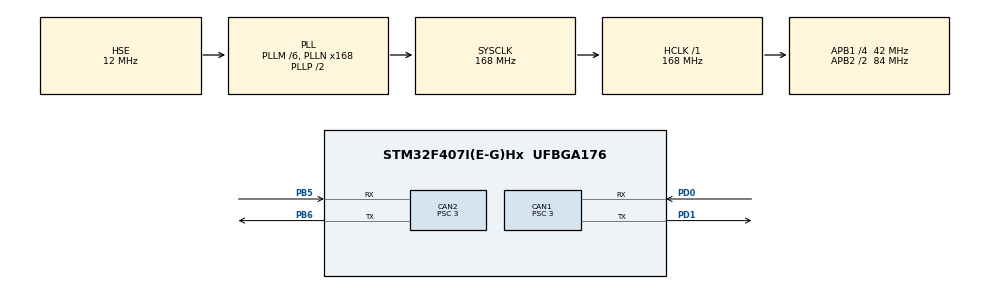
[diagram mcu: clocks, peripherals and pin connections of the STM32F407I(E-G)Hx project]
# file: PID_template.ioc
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CAN1.BS1=CAN_BS1_10TQ
CAN1.BS2=CAN_BS2_3TQ
CAN1.CalculateBaudRate=1000000
CAN1.CalculateTimeBit=1000
CAN1.CalculateTimeQuantum=71.42857142857143
CAN1.Prescaler=3
CAN2.BS1=CAN_BS1_10TQ
CAN2.BS2=CAN_BS2_3TQ
CAN2.CalculateBaudRate=1000000
CAN2.CalculateTimeBit=1000
CAN2.CalculateTimeQuantum=71.42857142857143
CAN2.Prescaler=3
Mcu.Family=STM32F4
Mcu.Name=STM32F407I(E-G)Hx
Mcu.Package=UFBGA176
NVIC.CAN1_RX0_IRQn=true\:0\:0\:false\:false\:true\:false\:true\:true\:true
NVIC.CAN2_RX0_IRQn=true\:0\:0\:false\:false\:true\:false\:true\:true\:true
NVIC.PriorityGroup=NVIC_PRIORITYGROUP_4
PA13.Mode=Serial_Wire
PA13.Signal=SYS_JTMS-SWDIO
PA14.Mode=Serial_Wire
PA14.Signal=SYS_JTCK-SWCLK
PB5.Mode=CAN_Activate
PB5.Signal=CAN2_RX
PB6.Mode=CAN_Activate
PB6.Signal=CAN2_TX
PD0.Mode=CAN_Activate
PD0.Signal=CAN1_RX
PD1.Mode=CAN_Activate
PD1.Signal=CAN1_TX
PH0-OSC_IN.Mode=HSE-External-Oscillator
PH0-OSC_IN.Signal=RCC_OSC_IN
PH1-OSC_OUT.Mode=HSE-External-Oscillator
PH1-OSC_OUT.Signal=RCC_OSC_OUT
ProjectManager.HeapSize=0x200
ProjectManager.StackSize=0x400
ProjectManager.TargetToolchain=CMake
RCC.48MHZClocksFreq_Value=48000000
RCC.AHBFreq_Value=168000000
RCC.APB1CLKDivider=RCC_HCLK_DIV4
RCC.APB1Freq_Value=42000000
RCC.APB1TimFreq_Value=84000000
RCC.APB2CLKDivider=RCC_HCLK_DIV2
RCC.APB2Freq_Value=84000000
RCC.APB2TimFreq_Value=168000000
RCC.CortexFreq_Value=168000000
RCC.HCLKFreq_Value=168000000
RCC.HSE_VALUE=12000000
RCC.HSI_VALUE=16000000
RCC.LSE_VALUE=32768
RCC.PLLM=6
RCC.PLLN=168
RCC.PLLQ=7
RCC.PLLSourceVirtual=RCC_PLLSOURCE_HSE
RCC.SYSCLKFreq_VALUE=168000000
RCC.SYSCLKSource=RCC_SYSCLKSOURCE_PLLCLK
RCC.VCOOutputFreq_Value=336000000
board=custom

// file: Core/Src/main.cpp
/* USER CODE BEGIN Header */
/**
  ******************************************************************************
  * @file           : main.c
  * @brief          : Main program body
  ******************************************************************************
  * @attention
  *
  * Copyright (c) 2026 STMicroelectronics.
  * All rights reserved.
  *
  * This software is licensed under terms that can be found in the LICENSE file
  * in the root directory of this software component.
  * If no LICENSE file comes with this software, it is provided AS-IS.
  *
  ******************************************************************************
  */
/* USER CODE END Header */
#include "main.h"
#include "can.h"
#include "gpio.h"

/* USER CODE BEGIN Includes */
#include "DJIMotorHandler.hpp"
#include "bsp_can.hpp"
#include "M3508.hpp"
#include "M2006.hpp"
#include "GM6020.hpp"
#include "pid.hpp"
#include "ref.hpp"
/* USER CODE END Includes */

void SystemClock_Config(void);

/* USER CODE BEGIN 0 */
//创建电机handler单例对象
DJIMotorHandler* motor_handler = DJIMotorHandler::Instance();
//TODO? 创建电机实例：选择你使用的电机
M2006 motor;  // 编号 1 的反馈 ID 为 0x201
// M3508 motor;      // 编号 1 的反馈 ID 为 0x201
// GM6020 motor; // 编号 1 的反馈 ID 为 0x205

//TODO? 创建参考曲线对象，选择你想要的曲线类型
RefCurve curve{RefShape::Triangle, -3.0f, 3.0f, 0, 3000};
// 上面依次为：曲线类型(Constant/Step/Triangle)、低值、高值、阶跃延时 ms、三角波周期 ms。

// PID 参数与控制器实例分离，便于调试时整体调整每组参数。
PIDTuning speed_pid_tuning{600.0f, 40.0f, 60.0f, 6000.0f, 600.0f};

struct debug_data_t {
    float ref;
    float fdb;
    float result;
};

debug_data_t debug_spd_data{};
debug_data_t debug_pos_data{};

// 记录程序开始时间，计算参考曲线的相对时间
uint32_t start_ms = 0;

/* USER CODE END 0 */

int main(void)
{

  /* MCU Configuration--------------------------------------------------------*/

  /* Reset of all peripherals, Initializes the Flash interface and the Systick. */
  HAL_Init();

  /* Configure the system clock */
  SystemClock_Config();

  /* Initialize all configured peripherals */
  MX_GPIO_Init();
  MX_CAN1_Init();
  MX_CAN2_Init();
  /* USER CODE BEGIN 2 */

  // 注册电机
  motor_handler->registerMotor(&motor, &hcan1, 0x202);
  // 注册的是反馈报文 ID：M3508/M2006 编号 1 用 0x201；GM6020 编号 1 用 0x205。

  // PID 控制器实例
  PID speed_pid(speed_pid_tuning);

  CAN_Init();
  start_ms = HAL_GetTick();
  /* USER CODE END 2 */

  /* Infinite loop */
  while (1)
  {

    /* USER CODE BEGIN 3 */

    // 每轮应用参数结构体，调试器调整 tuning 后会更新到控制器。
    speed_pid.Tuning(speed_pid_tuning);

    //将PID的reference设置为参考曲线（curve）的值
    //将PID的feedback设置为电机的速度反馈
    //调用 PID 对象自己的 UpdateResult()，计算结果
    //将 PID 的结果写入电机的 currentSet，再由 Handler 统一打包发送。
    speed_pid.ref = curve.Value(HAL_GetTick() - start_ms);
    speed_pid.fdb = motor.motorFeedback.speedFdb;
    speed_pid.UpdateResult();
    motor.currentSet = speed_pid.result;
    motor_handler->sendControlData();

    //更新调试数据
    debug_spd_data.ref = speed_pid.ref;
    debug_spd_data.fdb = speed_pid.fdb;
    debug_spd_data.result = speed_pid.result;

    HAL_Delay(1);
  }
  /* USER CODE END 3 */
}

void SystemClock_Config(void)
{
  RCC_OscInitTypeDef RCC_OscInitStruct = {0};
  RCC_ClkInitTypeDef RCC_ClkInitStruct = {0};

  /** Configure the main internal regulator output voltage
  */
  __HAL_RCC_PWR_CLK_ENABLE();
  __HAL_PWR_VOLTAGESCALING_CONFIG(PWR_REGULATOR_VOLTAGE_SCALE1);

  /** Initializes the RCC Oscillators according to the specified parameters
  * in the RCC_OscInitTypeDef structure.
  */
  RCC_OscInitStruct.OscillatorType = RCC_OSCILLATORTYPE_HSE;
  RCC_OscInitStruct.HSEState = RCC_HSE_ON;
  RCC_OscInitStruct.PLL.PLLState = RCC_PLL_ON;
  RCC_OscInitStruct.PLL.PLLSource = RCC_PLLSOURCE_HSE;
  RCC_OscInitStruct.PLL.PLLM = 6;
  RCC_OscInitStruct.PLL.PLLN = 168;
  RCC_OscInitStruct.PLL.PLLP = RCC_PLLP_DIV2;
  // Match RM26_F4: 12 MHz HSE / 6 * 168 / 2 = 168 MHz SYSCLK,
  // and PLLQ = 7 provides the 48 MHz clock domain for USB/SDIO/RNG.
  RCC_OscInitStruct.PLL.PLLQ = 7;
  if (HAL_RCC_OscConfig(&RCC_OscInitStruct) != HAL_OK)
  {
    Error_Handler();
  }

  /** Initializes the CPU, AHB and APB buses clocks
  */
  RCC_ClkInitStruct.ClockType = RCC_CLOCKTYPE_HCLK|RCC_CLOCKTYPE_SYSCLK
                              |RCC_CLOCKTYPE_PCLK1|RCC_CLOCKTYPE_PCLK2;
  RCC_ClkInitStruct.SYSCLKSource = RCC_SYSCLKSOURCE_PLLCLK;
  RCC_ClkInitStruct.AHBCLKDivider = RCC_SYSCLK_DIV1;
  RCC_ClkInitStruct.APB1CLKDivider = RCC_HCLK_DIV4;
  RCC_ClkInitStruct.APB2CLKDivider = RCC_HCLK_DIV2;

  if (HAL_RCC_ClockConfig(&RCC_ClkInitStruct, FLASH_LATENCY_5) != HAL_OK)
  {
    Error_Handler();
  }
}

void Error_Handler(void)
{
  __disable_irq();
  while (1)
  {
  }
}
